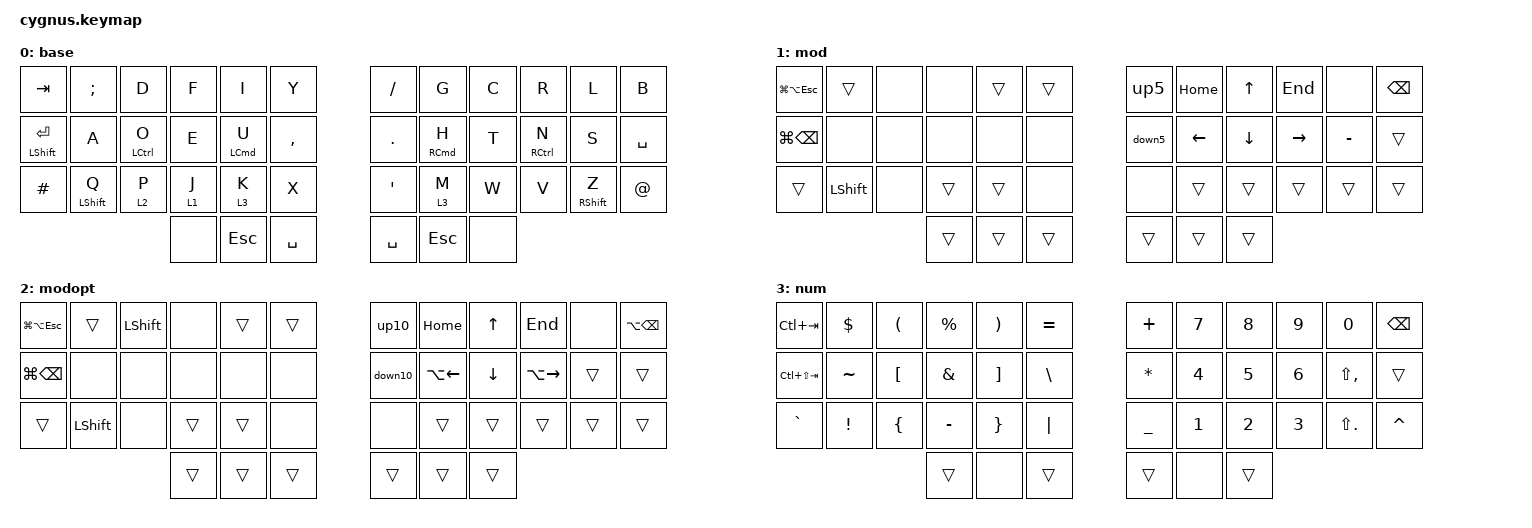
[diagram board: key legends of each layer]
/*
 * Copyright (c) 2020 The ZMK Contributors
 *
 * SPDX-License-Identifier: MIT
 */

#include <dt-bindings/zmk/mouse.h>
#include <behaviors.dtsi>
#include <dt-bindings/zmk/keys.h>

&mt {
    tapping-term-ms = <350>;
    flavor = "balanced";
};

&sk {
    release-after-ms = <2000>;
    quick-release;
};

&lt {
    tapping-term-ms = <350>;
    flavor = "balanced";
};

/ {
    combos { compatible = "zmk,combos"; };

    macros {
        up5: up5 {
            compatible = "zmk,behavior-macro";
            #binding-cells = <0>;
            bindings = <&kp UP_ARROW &kp UP &kp UP_ARROW &kp UP_ARROW &kp UP_ARROW>;
            label = "UP5";
        };

        down5: down5 {
            compatible = "zmk,behavior-macro";
            #binding-cells = <0>;
            bindings = <&kp DOWN &kp DOWN_ARROW &kp DOWN &kp DOWN_ARROW &kp DOWN_ARROW>;
            label = "DOWN5";
        };

        up10: up10 {
            compatible = "zmk,behavior-macro";
            #binding-cells = <0>;
            bindings = <&kp UP_ARROW &kp UP &kp UP_ARROW &kp UP_ARROW &kp UP_ARROW &kp UP &kp UP_ARROW &kp UP_ARROW &kp UP_ARROW &kp UP_ARROW>;
            label = "UP10";
        };

        down10: down10 {
            compatible = "zmk,behavior-macro";
            #binding-cells = <0>;
            bindings = <&kp DOWN &kp DOWN_ARROW &kp DOWN &kp DOWN_ARROW &kp DOWN_ARROW &kp DOWN &kp DOWN &kp DOWN &kp DOWN &kp DOWN>;
            label = "DOWN10";
        };
    };

    keymap {
        compatible = "zmk,keymap";

        base {
            bindings = <
&kp TAB               &kp SEMI            &kp D               &kp F       &kp I               &kp Y      &kp FSLH    &kp G                &kp C  &kp R                &kp L              &kp B
&mt LEFT_SHIFT ENTER  &kp A               &mt LEFT_CONTROL O  &kp E       &mt LEFT_COMMAND U  &kp COMMA  &kp PERIOD  &mt RIGHT_COMMAND H  &kp T  &mt RIGHT_CONTROL N  &kp S              &kp SPACE
&kp HASH              &mt LEFT_SHIFT Q    &lt 2 P             &lt 1 J     &lt 3 K             &kp X      &kp SQT     &lt 3 M              &kp W  &kp V                &mt RIGHT_SHIFT Z  &kp AT
                                          &none               &kp ESCAPE  &kp SPACE           &kp SPACE  &kp ESCAPE  &none
            >;
        };

        mod {
            bindings = <
&kp LG(LA(ESCAPE))  &trans          &none   &none   &trans  &trans  &up5    &kp HOME  &kp UP_ARROW    &kp END    &none      &kp BACKSPACE
&kp LG(BACKSPACE)   &none           &none   &none   &none   &none   &down5  &kp LEFT  &kp DOWN_ARROW  &kp RIGHT  &kp MINUS  &trans
&trans              &kp LEFT_SHIFT  &none   &trans  &trans  &none   &none   &trans    &trans          &trans     &trans     &trans
                                    &trans  &trans  &trans  &trans  &trans  &trans
            >;
        };

        modopt {
            bindings = <
&kp LG(LA(ESCAPE))  &trans          &kp LEFT_SHIFT  &none   &trans  &trans  &up10    &kp HOME      &kp UP_ARROW    &kp END        &none   &kp LA(BACKSPACE)
&kp LG(BACKSPACE)   &none           &none           &none   &none   &none   &down10  &kp LA(LEFT)  &kp DOWN_ARROW  &kp LA(RIGHT)  &trans  &trans
&trans              &kp LEFT_SHIFT  &none           &trans  &trans  &none   &none    &trans        &trans          &trans         &trans  &trans
                                    &trans          &trans  &trans  &trans  &trans   &trans
            >;
        };

        num {
            bindings = <
&kp LC(TAB)      &kp DOLLAR  &kp LEFT_PARENTHESIS  &kp PERCENT  &kp RIGHT_PARENTHESIS  &kp EQUAL  &kp PLUS   &kp NUMBER_7  &kp NUMBER_8  &kp NUMBER_9  &kp NUMBER_0  &kp BACKSPACE
&kp LC(LS(TAB))  &kp TILDE   &kp LEFT_BRACKET      &kp AMPS     &kp RIGHT_BRACKET      &kp BSLH   &kp ASTRK  &kp NUMBER_4  &kp NUMBER_5  &kp NUMBER_6  &kp LS(COMMA)     &trans
&kp GRAVE        &kp EXCL    &kp LEFT_BRACE        &kp MINUS    &kp RIGHT_BRACE        &kp PIPE   &kp UNDER  &kp NUMBER_1  &kp NUMBER_2  &kp NUMBER_3  &kp LS(PERIOD)     &kp CARET
                             &trans                &none        &trans                 &trans     &none      &trans
            >;
        };
    };
};
